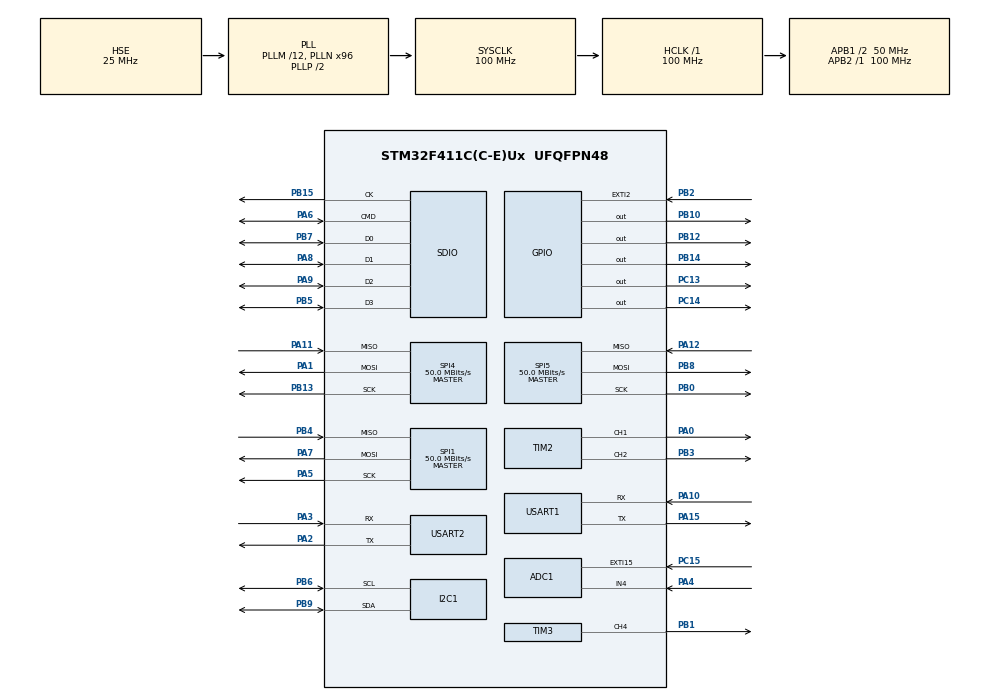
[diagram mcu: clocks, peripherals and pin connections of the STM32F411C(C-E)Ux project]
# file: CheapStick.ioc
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ADC1.Channel-0\#ChannelRegularConversion=ADC_CHANNEL_4
ADC1.NbrOfConversionFlag=1
ADC1.Rank-0\#ChannelRegularConversion=1
ADC1.SamplingTime-0\#ChannelRegularConversion=ADC_SAMPLETIME_3CYCLES
ADC1.master=1
Dma.Request0=SPI1_TX
Dma.Request1=USART1_RX
Dma.SPI1_TX.0.Direction=DMA_MEMORY_TO_PERIPH
Dma.SPI1_TX.0.FIFOMode=DMA_FIFOMODE_ENABLE
Dma.SPI1_TX.0.FIFOThreshold=DMA_FIFO_THRESHOLD_FULL
Dma.SPI1_TX.0.Instance=DMA2_Stream2
Dma.SPI1_TX.0.MemBurst=DMA_MBURST_SINGLE
Dma.SPI1_TX.0.MemDataAlignment=DMA_MDATAALIGN_BYTE
Dma.SPI1_TX.0.MemInc=DMA_MINC_ENABLE
Dma.SPI1_TX.0.Mode=DMA_CIRCULAR
Dma.SPI1_TX.0.PeriphBurst=DMA_PBURST_SINGLE
Dma.SPI1_TX.0.PeriphDataAlignment=DMA_PDATAALIGN_BYTE
Dma.SPI1_TX.0.PeriphInc=DMA_PINC_DISABLE
Dma.SPI1_TX.0.Priority=DMA_PRIORITY_LOW
Dma.USART1_RX.1.Direction=DMA_PERIPH_TO_MEMORY
Dma.USART1_RX.1.FIFOMode=DMA_FIFOMODE_ENABLE
Dma.USART1_RX.1.FIFOThreshold=DMA_FIFO_THRESHOLD_FULL
Dma.USART1_RX.1.Instance=DMA2_Stream5
Dma.USART1_RX.1.MemBurst=DMA_MBURST_SINGLE
Dma.USART1_RX.1.MemDataAlignment=DMA_MDATAALIGN_BYTE
Dma.USART1_RX.1.MemInc=DMA_MINC_ENABLE
Dma.USART1_RX.1.Mode=DMA_CIRCULAR
Dma.USART1_RX.1.PeriphBurst=DMA_PBURST_SINGLE
Dma.USART1_RX.1.PeriphDataAlignment=DMA_PDATAALIGN_BYTE
Dma.USART1_RX.1.PeriphInc=DMA_PINC_DISABLE
Dma.USART1_RX.1.Priority=DMA_PRIORITY_LOW
Mcu.Family=STM32F4
Mcu.Name=STM32F411C(C-E)Ux
Mcu.Package=UFQFPN48
NVIC.DMA2_Stream2_IRQn=true\:0\:0\:false\:false\:true\:false\:true
NVIC.DMA2_Stream5_IRQn=true\:0\:0\:false\:false\:true\:false\:true
NVIC.PriorityGroup=NVIC_PRIORITYGROUP_4
PA0-WKUP.Signal=S_TIM2_CH1_ETR
PA1.Mode=Full_Duplex_Master
PA1.Signal=SPI4_MOSI
PA10.Mode=Asynchronous
PA10.Signal=USART1_RX
PA11.Mode=Full_Duplex_Master
PA11.Signal=SPI4_MISO
PA12.Mode=Full_Duplex_Master
PA12.Signal=SPI5_MISO
PA13.Mode=Serial_Wire
PA13.Signal=SYS_JTMS-SWDIO
PA14.Mode=Serial_Wire
PA14.Signal=SYS_JTCK-SWCLK
PA15.Mode=Asynchronous
PA15.Signal=USART1_TX
PA2.Mode=Asynchronous
PA2.Signal=USART2_TX
PA3.Mode=Asynchronous
PA3.Signal=USART2_RX
PA4.Signal=ADCx_IN4
PA5.Mode=Full_Duplex_Master
PA5.Signal=SPI1_SCK
PA6.Mode=SD_4_bits_Wide_bus
PA6.Signal=SDIO_CMD
PA7.Mode=Full_Duplex_Master
PA7.Signal=SPI1_MOSI
PA8.Mode=SD_4_bits_Wide_bus
PA8.Signal=SDIO_D1
PA9.Mode=SD_4_bits_Wide_bus
PA9.Signal=SDIO_D2
PB0.Mode=Full_Duplex_Master
PB0.Signal=SPI5_SCK
PB1.Signal=S_TIM3_CH4
PB10.Signal=GPIO_Output
PB12.Signal=GPIO_Output
PB13.Mode=Full_Duplex_Master
PB13.Signal=SPI4_SCK
PB14.Signal=GPIO_Output
PB15.Mode=SD_4_bits_Wide_bus
PB15.Signal=SDIO_CK
PB2.Signal=GPXTI2
PB3.Signal=S_TIM2_CH2
PB4.Mode=Full_Duplex_Master
PB4.Signal=SPI1_MISO
PB5.Mode=SD_4_bits_Wide_bus
PB5.Signal=SDIO_D3
PB6.Mode=I2C
PB6.Signal=I2C1_SCL
PB7.Mode=SD_4_bits_Wide_bus
PB7.Signal=SDIO_D0
PB8.Mode=Full_Duplex_Master
PB8.Signal=SPI5_MOSI
PB9.Mode=I2C
PB9.Signal=I2C1_SDA
PC13-ANTI_TAMP.Signal=GPIO_Output
PC14-OSC32_IN.Signal=GPIO_Output
PC15-OSC32_OUT.Signal=GPXTI15
PH0\ -\ OSC_IN.Mode=HSE-External-Oscillator
PH0\ -\ OSC_IN.Signal=RCC_OSC_IN
PH1\ -\ OSC_OUT.Mode=HSE-External-Oscillator
PH1\ -\ OSC_OUT.Signal=RCC_OSC_OUT
ProjectManager.HeapSize=0x200
ProjectManager.StackSize=0x400
ProjectManager.TargetToolchain=MDK-ARM V5.32
RCC.48MHZClocksFreq_Value=40000000
RCC.AHBFreq_Value=100000000
RCC.APB1CLKDivider=RCC_HCLK_DIV2
RCC.APB1Freq_Value=50000000
RCC.APB1TimFreq_Value=100000000
RCC.APB2Freq_Value=100000000
RCC.APB2TimFreq_Value=100000000
RCC.CortexFreq_Value=100000000
RCC.HCLKFreq_Value=100000000
RCC.HSE_VALUE=25000000
RCC.HSI_VALUE=16000000
RCC.LSE_VALUE=32768
RCC.PLLM=12
RCC.PLLN=96
RCC.PLLQ=5
RCC.PLLSourceVirtual=RCC_PLLSOURCE_HSE
RCC.SYSCLKFreq_VALUE=100000000
RCC.SYSCLKSource=RCC_SYSCLKSOURCE_PLLCLK
RCC.VCOOutputFreq_Value=200000000
SH.ADCx_IN4.0=ADC1_IN4,IN4
SH.S_TIM2_CH1_ETR.0=TIM2_CH1,PWM Generation1 CH1
SH.S_TIM2_CH2.0=TIM2_CH2,PWM Generation2 CH2
SH.S_TIM3_CH4.0=TIM3_CH4,PWM Generation4 CH4
SPI1.CalculateBaudRate=50.0 MBits/s
SPI1.Direction=SPI_DIRECTION_2LINES
SPI1.Mode=SPI_MODE_MASTER
SPI1.VirtualType=VM_MASTER
SPI4.CalculateBaudRate=50.0 MBits/s
SPI4.Direction=SPI_DIRECTION_2LINES
SPI4.Mode=SPI_MODE_MASTER
SPI4.VirtualType=VM_MASTER
SPI5.CalculateBaudRate=50.0 MBits/s
SPI5.Direction=SPI_DIRECTION_2LINES
SPI5.Mode=SPI_MODE_MASTER
SPI5.VirtualType=VM_MASTER
TIM2.Channel-PWM\ Generation1\ CH1=TIM_CHANNEL_1
TIM2.Channel-PWM\ Generation2\ CH2=TIM_CHANNEL_2
TIM3.Channel-PWM\ Generation4\ CH4=TIM_CHANNEL_4
USART1.VirtualMode=VM_ASYNC
USART2.VirtualMode=VM_ASYNC
board=custom

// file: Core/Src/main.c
/* USER CODE BEGIN Header */
/**
  ******************************************************************************
  * @file           : main.c
  * @brief          : Main program body
  ******************************************************************************
  * @attention
  *
  * <h2><center>&copy; Copyright (c) 2021 STMicroelectronics.
  * All rights reserved.</center></h2>
  *
  * This software component is licensed by ST under BSD 3-Clause license,
  * the "License"; You may not use this file except in compliance with the
  * License. You may obtain a copy of the License at:
  *                        opensource.org/licenses/BSD-3-Clause
  *
  ******************************************************************************
  */
/* USER CODE END Header */
#include "main.h"
#include "adc.h"
#include "i2c.h"
#include "sdio.h"
#include "spi.h"
#include "tim.h"
#include "usart.h"
#include "gpio.h"

/* USER CODE BEGIN Includes */
#include <stdio.h>
#include <string.h>
/* USER CODE END Includes */

/* USER CODE BEGIN PTD */
#define BUF_PACKET_SIZE 104
#define BUF_PACKET_SIZE_HALF 52
#define BUF_PACKET_SIZE_HALF_MINOR 51
#define HT8574_ADDRESS 112
/* USER CODE END PTD */

void SystemClock_Config(void);

/* USER CODE BEGIN 0 */
	uint8_t msgBuf[BUF_PACKET_SIZE];
	uint8_t bootMsg[] = "Booted\r\n";
	uint8_t noSDCardMsg[] = "No SD Card, Please Insert and restart\r\n";

	uint8_t TX_ON[2];

/* USER CODE END 0 */

int main(void)
{

  /* MCU Configuration--------------------------------------------------------*/

  /* Reset of all peripherals, Initializes the Flash interface and the Systick. */
  HAL_Init();

  /* Configure the system clock */
  SystemClock_Config();

  /* Initialize all configured peripherals */
  MX_GPIO_Init();
  MX_I2C1_Init();
  MX_SDIO_SD_Init();
  MX_SPI1_Init();
  MX_SPI4_Init();
  MX_SPI5_Init();
  MX_TIM2_Init();
  MX_TIM3_Init();
  MX_USART1_UART_Init();
  MX_USART2_UART_Init();
  MX_ADC1_Init();
  /* USER CODE BEGIN 2 */

	//Bring High CS
	HAL_GPIO_WritePin(GPIOB,GPIO_PIN_12,GPIO_PIN_SET);

	//Enable TX mode
	TX_ON[0]=0x80;
	HAL_I2C_Master_Transmit(&hi2c1,HT8574_ADDRESS,TX_ON,1,100);

	//Create tets Buffer
	memcpy(msgBuf, "123.123456,123.123456,12345,123456,123,123,123,3.3",50);
	msgBuf[50] = '\r';
	msgBuf[51] = '\n';

	memcpy(msgBuf+BUF_PACKET_SIZE_HALF, "333.333333,333.333333,12345,123456,123,123,123,7.7",50);
	msgBuf[102] = '\r';
	msgBuf[103] = '\n';

	HAL_Delay(2000);

  /* USER CODE END 2 */

  /* Infinite loop */
  while (1)
  {
		//transmit first half of buffer

	//Bring Low CS
	HAL_GPIO_WritePin(GPIOB,GPIO_PIN_12,GPIO_PIN_RESET);

	HAL_SPI_Transmit(&hspi1,msgBuf,BUF_PACKET_SIZE_HALF,1000);
	HAL_GPIO_WritePin(GPIOC,GPIO_PIN_13,GPIO_PIN_SET);
	HAL_Delay(2000);
	//HAL_SPI_Transmit_DMA(&hspi1,msgBuf+BUF_PACKET_SIZE_HALF,BUF_PACKET_SIZE_HALF);
	HAL_GPIO_WritePin(GPIOC,GPIO_PIN_13,GPIO_PIN_RESET);
	HAL_Delay(2000);
  }
}

void SystemClock_Config(void)
{
  RCC_OscInitTypeDef RCC_OscInitStruct = {0};
  RCC_ClkInitTypeDef RCC_ClkInitStruct = {0};

  /** Configure the main internal regulator output voltage
  */
  __HAL_RCC_PWR_CLK_ENABLE();
  __HAL_PWR_VOLTAGESCALING_CONFIG(PWR_REGULATOR_VOLTAGE_SCALE1);
  /** Initializes the RCC Oscillators according to the specified parameters
  * in the RCC_OscInitTypeDef structure.
  */
  RCC_OscInitStruct.OscillatorType = RCC_OSCILLATORTYPE_HSE;
  RCC_OscInitStruct.HSEState = RCC_HSE_ON;
  RCC_OscInitStruct.PLL.PLLState = RCC_PLL_ON;
  RCC_OscInitStruct.PLL.PLLSource = RCC_PLLSOURCE_HSE;
  RCC_OscInitStruct.PLL.PLLM = 12;
  RCC_OscInitStruct.PLL.PLLN = 96;
  RCC_OscInitStruct.PLL.PLLP = RCC_PLLP_DIV2;
  RCC_OscInitStruct.PLL.PLLQ = 5;
  if (HAL_RCC_OscConfig(&RCC_OscInitStruct) != HAL_OK)
  {
    Error_Handler();
  }
  /** Initializes the CPU, AHB and APB buses clocks
  */
  RCC_ClkInitStruct.ClockType = RCC_CLOCKTYPE_HCLK|RCC_CLOCKTYPE_SYSCLK
                              |RCC_CLOCKTYPE_PCLK1|RCC_CLOCKTYPE_PCLK2;
  RCC_ClkInitStruct.SYSCLKSource = RCC_SYSCLKSOURCE_PLLCLK;
  RCC_ClkInitStruct.AHBCLKDivider = RCC_SYSCLK_DIV1;
  RCC_ClkInitStruct.APB1CLKDivider = RCC_HCLK_DIV2;
  RCC_ClkInitStruct.APB2CLKDivider = RCC_HCLK_DIV1;

  if (HAL_RCC_ClockConfig(&RCC_ClkInitStruct, FLASH_LATENCY_3) != HAL_OK)
  {
    Error_Handler();
  }
}

void Error_Handler(void)
{
  /* USER CODE BEGIN Error_Handler_Debug */
  /* User can add his own implementation to report the HAL error return state */
  __disable_irq();
  while (1)
  {
		HAL_UART_Transmit(&huart2,noSDCardMsg,39,100);
		HAL_Delay(1000);
  }
  /* USER CODE END Error_Handler_Debug */
}

/************************ (C) COPYRIGHT STMicroelectronics *****END OF FILE****/
